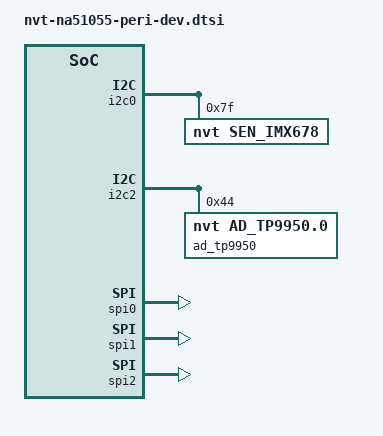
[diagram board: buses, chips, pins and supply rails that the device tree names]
/*
 * Novatek Ltd. NA51055 BSP part of dts
 *
 * Cortex-A9
 *
 */


#include <dt-bindings/gpio/nvt-gpio.h>

&i2c0 {
	#address-cells = <1>;
	#size-cells = <0>;
	sen_imx678@7f {
		compatible = "nvt,sen_imx678";
		reg = <0x7F>;                       /* dummy addr */
		path = <0>;
		PRESET {
			expt_time = <10000>;            /* 10000us */
			gain_ratio = <1000>;            /* 1x gain */        
	};
		DIRECTION {
			mirror = <0>;                   /* mirror */
			flip = <0>;                     /* no flip */
		};
		POWER {
			mclk = <0>;                     /* CTL_SEN_CLK_SEL_SIEMCLK */
			pwdn_pin = <0xFFFFFFFF>;        /* no pwdn pin */   
			rst_pin = <S_GPIO(5)>;          /* S_GPIO_4 */
			rst_time = <10>;                 /* 1ms */
			stable_time = <10>;              /* 1ms */
		};
		I2C {
			i2c_id = <0>;                   /* SEN_I2C_ID_1 */
			i2c_addr = <0x1A>;              /* 0x34 >> 1  = 0x1A */
		};
	};
};

&i2c1 {
	#address-cells = <1>;
	#size-cells = <0>;
};

&i2c2 {
	#address-cells = <1>;
	#size-cells = <0>;
	
	ad_tp9950@0 {
		compatible = "nvt,ad_tp9950.0";
		reg = <0x44>;
		power_cfg {
			mclk_sel = "MCLK3";						// ex : "MCLK" or "MCLK2" or "MCLK3"

			///////////////////////////////////////////////////////////////////////////////////////////////////
			// io control description                                                                        //
			// io_ctl0@0~19(max) = <io_pin      level   hold time>                                              //
			//   io_pin - (3 types)                                                                          //
			//     1. pin name (ex. S_GPIO(4), PGPIO(0), ...)                                                //
			//     2. 0xfffe: the following commands will only applied on 'power on' sequence (default)      //
			//     3. 0xfffd: the following commands will only applied on 'power off' sequence               //
			//   level - 1: pull high, 0: pull low                                                           //
			//   hold time - delay time (us)                                                                 //
			///////////////////////////////////////////////////////////////////////////////////////////////////
			//// power on ////
			io_ctl0 = <0xfffe		0 0>;			// power on sqeuence indicator
			// turn on power pin
			io_ctl1 = <D_GPIO(8)	1 10000>;			// io control description @0~19(max) = <io_pin, level(high(1) or low(0), hold time(us)>
			io_ctl2 = <L_GPIO(20)	1 10000>;			// io control description @0~19(max) = <io_pin, level(high(1) or low(0), hold time(us)>

			// reset flow
			io_ctl3 = <P_GPIO(11)	0 100000>;		// io control description @0~19(max) = <io_pin, level(high(1) or low(0), hold time(us)>
			io_ctl4 = <P_GPIO(11)	1 100000>;		// io control description @0~19(max) = <io_pin, level(high(1) or low(0), hold time(us)>

			//// power off ////
			io_ctl5 = <0xfffd		0 0>;			// power off sequence indicator
			io_ctl6 = <D_GPIO(8)	0 10>;			// turn off AHD5V_EN
			io_ctl7 = <P_GPIO(11)	0 10>;			// set tp9950 in reset state
			io_ctl8 = <L_GPIO(20)	0 10>;
		};
		outport@0 {
		inport = <0>;
		signal = <0>;/*0:parallel 1:mipi*/
		};
	};
};

&spi0 {
	status = "okay";
	#address-cells = <1>;
	#size-cells = <0>;

/*	dummy_spi_dev: dummy_spi_dev@0 {
		compatible = "dummy_spi_dev.0";
		reg = <0>; // Chip select 0
		spi-max-frequency = <1000000>;
		spi-cpol;
        };
*/
};

&spi1 {
	status = "okay";
};

&spi2 {
	status = "okay";
};
